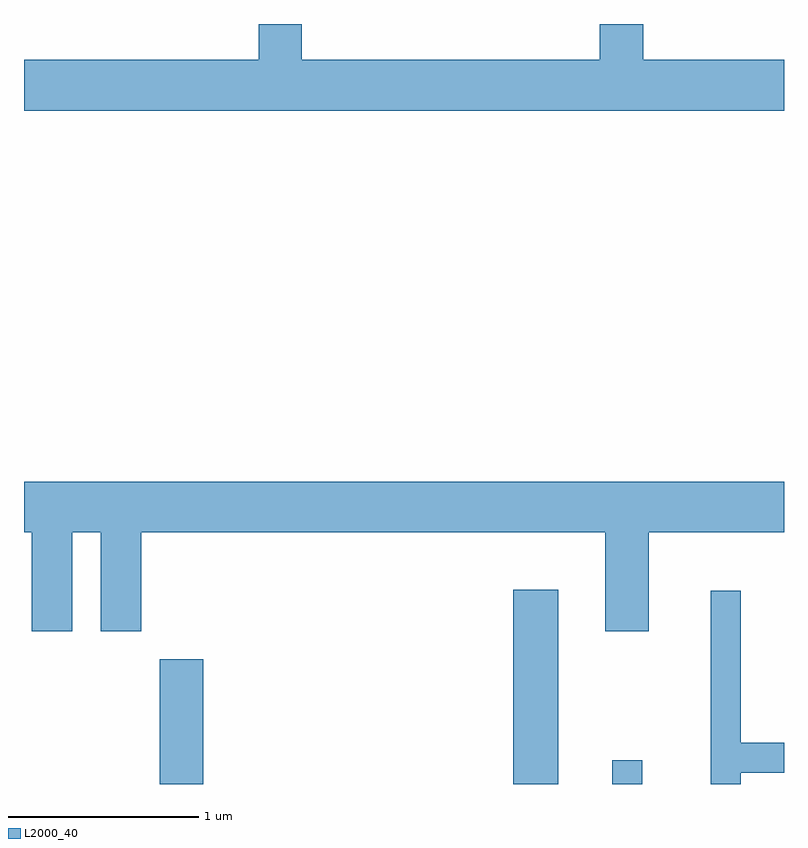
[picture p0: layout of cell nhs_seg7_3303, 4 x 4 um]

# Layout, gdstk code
import gdstk
lib = gdstk.Library(unit=1e-6, precision=1e-09)
def R(c, l, rs):  # rectangles x0, y0, x1, y1
    for r in rs: c.add(gdstk.rectangle(r[:2], r[2:], *l))
def P(c, l, *ps):  # polygons
    for p in ps: c.add(gdstk.Polygon(p, *l))
L2000_40 = (2000, 40)

nhs_seg7_3303 = lib.new_cell('nhs_seg7_3303')
R(nhs_seg7_3303, L2000_40, [(286.326,1786.252,286.554,1786.909), (288.186,1786.252,288.424,1787.274), (288.706,1786.252,288.864,1786.378)])
P(nhs_seg7_3303, L2000_40, [(289.611,1790.064),(288.869,1790.064),(288.869,1790.252),(288.641,1790.252),(288.641,1790.064),(287.074,1790.064),(287.074,1790.252),(286.846,1790.252),(286.846,1790.064),(285.611,1790.064),(285.611,1789.796),(289.611,1789.796)],
  [(285.864,1787.576),(286.016,1787.576),(286.016,1787.056),(286.229,1787.056),(286.229,1787.576),(288.671,1787.576),(288.671,1787.056),(288.899,1787.056),(288.899,1787.576),(289.611,1787.576),(289.611,1787.844),(285.611,1787.844),(285.611,1787.576),(285.651,1787.576),(285.651,1787.056),(285.864,1787.056)],
  [(289.384,1786.311),(289.611,1786.311),(289.611,1786.469),(289.384,1786.469),(289.384,1787.268),(289.226,1787.268),(289.226,1786.252),(289.384,1786.252)])

lib.write_gds('nhs_seg7_3303.gds')
